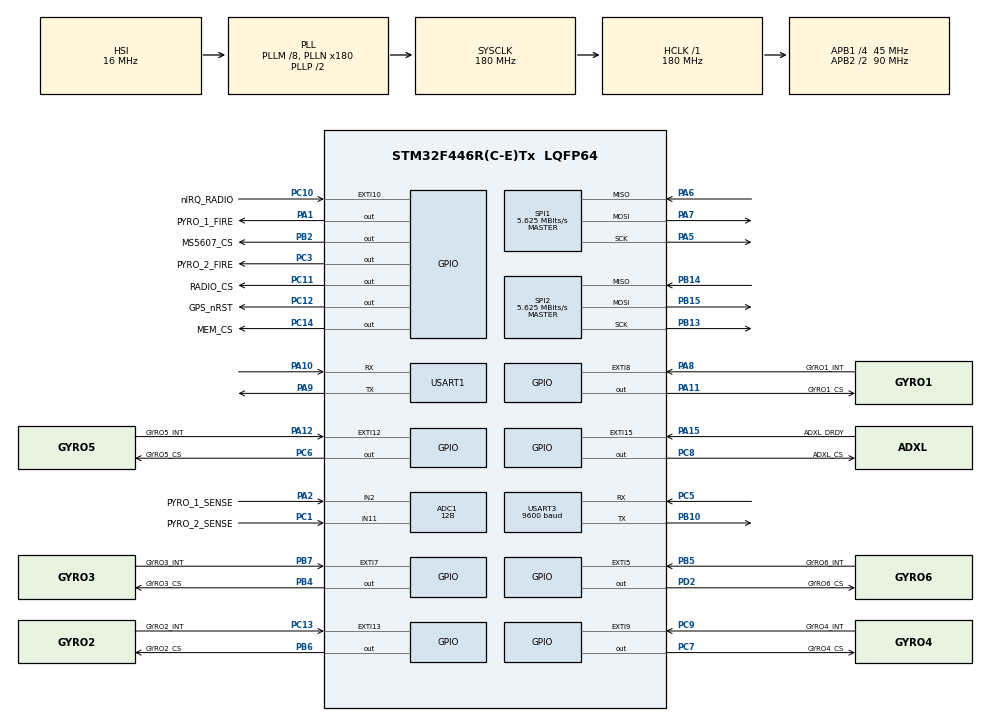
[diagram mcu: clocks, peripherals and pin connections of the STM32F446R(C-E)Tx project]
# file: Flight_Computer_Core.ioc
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ADC1.Channel-0\#ChannelRegularConversion=ADC_CHANNEL_2
ADC1.ClockPrescaler=ADC_CLOCK_SYNC_PCLK_DIV4
ADC1.ContinuousConvMode=DISABLE
ADC1.DMAContinuousRequests=DISABLE
ADC1.DataAlign=ADC_DATAALIGN_RIGHT
ADC1.DiscontinuousConvMode=DISABLE
ADC1.EOCSelection=ADC_EOC_SINGLE_CONV
ADC1.EnableAnalogWatchDog=false
ADC1.ExternalTrigConv=ADC_SOFTWARE_START
ADC1.ExternalTrigConvEdge=ADC_EXTERNALTRIGCONVEDGE_NONE
ADC1.InjNumberOfConversion=0
ADC1.NbrOfConversion=1
ADC1.NbrOfConversionFlag=1
ADC1.Rank-0\#ChannelRegularConversion=1
ADC1.Resolution=ADC_RESOLUTION_12B
ADC1.SamplingTime-0\#ChannelRegularConversion=ADC_SAMPLETIME_3CYCLES
ADC1.ScanConvMode=DISABLE
ADC1.master=1
Mcu.Family=STM32F4
Mcu.Name=STM32F446R(C-E)Tx
Mcu.Package=LQFP64
NVIC.EXTI15_10_IRQn=true\:1\:0\:true\:false\:true\:true
NVIC.EXTI9_5_IRQn=true\:1\:0\:true\:false\:true\:true
NVIC.PriorityGroup=NVIC_PRIORITYGROUP_4
NVIC.TIM1_UP_TIM10_IRQn=true\:1\:0\:true\:false\:true\:true
NVIC.TIM6_DAC_IRQn=true\:1\:0\:true\:false\:true\:true
NVIC.TIM7_IRQn=true\:1\:0\:true\:false\:true\:true
NVIC.USART1_IRQn=true\:0\:0\:false\:false\:true\:true
NVIC.USART3_IRQn=true\:0\:0\:false\:false\:true\:true
PA1.GPIO_Label=PYRO_1_FIRE
PA1.Signal=GPIO_Output
PA10.Mode=Asynchronous
PA10.Signal=USART1_RX
PA11.GPIO_Label=GYRO1_CS
PA11.GPIO_Speed=GPIO_SPEED_FREQ_HIGH
PA11.Signal=GPIO_Output
PA12.GPIO_Label=GYRO5_INT
PA12.Signal=GPXTI12
PA13.Mode=Trace_Asynchronous_SW
PA13.Signal=SYS_JTMS-SWDIO
PA14.Mode=Trace_Asynchronous_SW
PA14.Signal=SYS_JTCK-SWCLK
PA15.GPIO_Label=ADXL_DRDY
PA15.Signal=GPXTI15
PA2.GPIO_Label=PYRO_1_SENSE
PA2.Signal=ADCx_IN2
PA5.Mode=Full_Duplex_Master
PA5.Signal=SPI1_SCK
PA6.Mode=Full_Duplex_Master
PA6.Signal=SPI1_MISO
PA7.Mode=Full_Duplex_Master
PA7.Signal=SPI1_MOSI
PA8.GPIO_Label=GYRO1_INT
PA8.Signal=GPXTI8
PA9.Mode=Asynchronous
PA9.Signal=USART1_TX
PB10.Mode=Asynchronous
PB10.Signal=USART3_TX
PB13.Mode=Full_Duplex_Master
PB13.Signal=SPI2_SCK
PB14.Mode=Full_Duplex_Master
PB14.Signal=SPI2_MISO
PB15.Mode=Full_Duplex_Master
PB15.Signal=SPI2_MOSI
PB2.GPIO_Label=MS5607_CS
PB2.GPIO_Speed=GPIO_SPEED_FREQ_HIGH
PB2.Signal=GPIO_Output
PB3.Mode=Trace_Asynchronous_SW
PB3.Signal=SYS_JTDO-SWO
PB4.GPIO_Label=GYRO3_CS
PB4.GPIO_Speed=GPIO_SPEED_FREQ_HIGH
PB4.Signal=GPIO_Output
PB5.GPIO_Label=GYRO6_INT
PB5.Signal=GPXTI5
PB6.GPIO_Label=GYRO2_CS
PB6.GPIO_Speed=GPIO_SPEED_FREQ_HIGH
PB6.Signal=GPIO_Output
PB7.GPIO_Label=GYRO3_INT
PB7.Signal=GPXTI7
PC1.GPIO_Label=PYRO_2_SENSE
PC1.Signal=ADCx_IN11
PC10.GPIO_Label=nIRQ_RADIO
PC10.Signal=GPXTI10
PC11.GPIO_Label=RADIO_CS
PC11.GPIO_Speed=GPIO_SPEED_FREQ_HIGH
PC11.Signal=GPIO_Output
PC12.GPIO_Label=GPS_nRST
PC12.Signal=GPIO_Output
PC13.GPIO_Label=GYRO2_INT
PC13.Signal=GPXTI13
PC14-OSC32_IN.GPIO_Label=MEM_CS
PC14-OSC32_IN.GPIO_Speed=GPIO_SPEED_FREQ_LOW
PC14-OSC32_IN.Signal=GPIO_Output
PC3.GPIO_Label=PYRO_2_FIRE
PC3.Signal=GPIO_Output
PC5.Mode=Asynchronous
PC5.Signal=USART3_RX
PC6.GPIO_Label=GYRO5_CS
PC6.GPIO_Speed=GPIO_SPEED_FREQ_HIGH
PC6.Signal=GPIO_Output
PC7.GPIO_Label=GYRO4_CS
PC7.GPIO_Speed=GPIO_SPEED_FREQ_HIGH
PC7.Signal=GPIO_Output
PC8.GPIO_Label=ADXL_CS
PC8.GPIO_Speed=GPIO_SPEED_FREQ_HIGH
PC8.Signal=GPIO_Output
PC9.GPIO_Label=GYRO4_INT
PC9.Signal=GPXTI9
PD2.GPIO_Label=GYRO6_CS
PD2.GPIO_Speed=GPIO_SPEED_FREQ_HIGH
PD2.Signal=GPIO_Output
ProjectManager.HeapSize=0x200
ProjectManager.StackSize=0x400
ProjectManager.TargetToolchain=Other Toolchains (GPDSC)
RCC.AHBFreq_Value=180000000
RCC.APB1CLKDivider=RCC_HCLK_DIV4
RCC.APB1Freq_Value=45000000
RCC.APB1TimFreq_Value=90000000
RCC.APB2CLKDivider=RCC_HCLK_DIV2
RCC.APB2Freq_Value=90000000
RCC.APB2TimFreq_Value=180000000
RCC.CortexFreq_Value=180000000
RCC.HCLKFreq_Value=180000000
RCC.PLLM=8
RCC.PLLN=180
RCC.SYSCLKFreq_VALUE=180000000
RCC.SYSCLKSource=RCC_SYSCLKSOURCE_PLLCLK
RCC.USBFreq_Value=180000000
RCC.VCOOutputFreq_Value=360000000
SH.ADCx_IN11.0=ADC1_IN11,IN11
SH.ADCx_IN2.0=ADC1_IN2,IN2
SPI1.BaudRatePrescaler=SPI_BAUDRATEPRESCALER_16
SPI1.CalculateBaudRate=5.625 MBits/s
SPI1.Direction=SPI_DIRECTION_2LINES
SPI1.Mode=SPI_MODE_MASTER
SPI1.VirtualType=VM_MASTER
SPI2.BaudRatePrescaler=SPI_BAUDRATEPRESCALER_8
SPI2.CalculateBaudRate=5.625 MBits/s
SPI2.Direction=SPI_DIRECTION_2LINES
SPI2.Mode=SPI_MODE_MASTER
SPI2.VirtualType=VM_MASTER
TIM10.Period=99
TIM10.Prescaler=1799
TIM6.Period=99
TIM6.Prescaler=17999
TIM7.Period=999
TIM7.Prescaler=17999
USART1.VirtualMode=VM_ASYNC
USART3.BaudRate=9600
USART3.VirtualMode=VM_ASYNC
VP_TIM10_VS_ClockSourceINT.Mode=Enable_Timer
VP_TIM6_VS_ClockSourceINT.Mode=Enable_Timer
VP_TIM7_VS_ClockSourceINT.Mode=Enable_Timer
board=Flight_Computer_Core

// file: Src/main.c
/**
  ******************************************************************************
  * File Name          : main.c
  * Description        : Main program body
  ******************************************************************************
  ** This notice applies to any and all portions of this file
  * that are not between comment pairs USER CODE BEGIN and
  * USER CODE END. Other portions of this file, whether
  * inserted by the user or by software development tools
  * are owned by their respective copyright owners.
  *
  * COPYRIGHT(c) 2018 STMicroelectronics
  *
  * Redistribution and use in source and binary forms, with or without modification,
  * are permitted provided that the following conditions are met:
  *   1. Redistributions of source code must retain the above copyright notice,
  *      this list of conditions and the following disclaimer.
  *   2. Redistributions in binary form must reproduce the above copyright notice,
  *      this list of conditions and the following disclaimer in the documentation
  *      and/or other materials provided with the distribution.
  *   3. Neither the name of STMicroelectronics nor the names of its contributors
  *      may be used to endorse or promote products derived from this software
  *      without specific prior written permission.
  *
  * THIS SOFTWARE IS PROVIDED BY THE COPYRIGHT HOLDERS AND CONTRIBUTORS "AS IS"
  * AND ANY EXPRESS OR IMPLIED WARRANTIES, INCLUDING, BUT NOT LIMITED TO, THE
  * IMPLIED WARRANTIES OF MERCHANTABILITY AND FITNESS FOR A PARTICULAR PURPOSE ARE
  * DISCLAIMED. IN NO EVENT SHALL THE COPYRIGHT HOLDER OR CONTRIBUTORS BE LIABLE
  * FOR ANY DIRECT, INDIRECT, INCIDENTAL, SPECIAL, EXEMPLARY, OR CONSEQUENTIAL
  * DAMAGES (INCLUDING, BUT NOT LIMITED TO, PROCUREMENT OF SUBSTITUTE GOODS OR
  * SERVICES; LOSS OF USE, DATA, OR PROFITS; OR BUSINESS INTERRUPTION) HOWEVER
  * CAUSED AND ON ANY THEORY OF LIABILITY, WHETHER IN CONTRACT, STRICT LIABILITY,
  * OR TORT (INCLUDING NEGLIGENCE OR OTHERWISE) ARISING IN ANY WAY OUT OF THE USE
  * OF THIS SOFTWARE, EVEN IF ADVISED OF THE POSSIBILITY OF SUCH DAMAGE.
  *
  ******************************************************************************
  */

#include "main.h"
#include "stm32f4xx_hal.h"

/* USER CODE BEGIN Includes */

/*
                                                                   `-/+osyhdmmNNy`
                                                             `-/shmNmhyso+/oMMMy`
                                                         `-+hmNdy+:.`     /mMNo`
                                                     `.:smNds/.`        .yNMm:
                                             `.:+oosmmNmy+.`          .sNMNo`
                                        `-/syhs+:./hmy/`    `::     .odmms.
       ./oyyyo:`       ./oyyy+-      ./ymNyo+oo+/:+/.    ./o//+++//+oso+o++:       .:/++/:.
      :mNNNNNNNh-     /mNNNNNNmy. -odNMMN++dmmdhddd/ `:odNs/hydddmNmdddmmmmo      /ddmmmmdh/
      hNNNmsmNNNm-    hNNNmsmNNms.dNMMMM/-mNdyydmmdd-sNMMh-Ndmmmysossssssss/     -dmmmdhmmmd-
      hNNNh :NNNNh`   hNNNy /NNmm/-+oo++.dNNdd-:dmNNd-NMMo+mddd:                `ymmmd:-dmmmh`
      hNNNh  oNNNN/   hNNNy .omNNm.ddhy-+mNNNo.:sMNNNo+MN/-dmmmho+++++++/-`     +mmmmo  ommmmo
      hNNNh  `dNNNd`  hNNNy-d-dNNm/.-...dhNNh` y.mNNNN-o.  +dmmmmmmmmmmmmmh:   -dmmmh`  `hmmmd-
      hNNNh   :NNNN/  hNmmy:Ms/mdhh.:.`omdmh- .Ny:NNNdy     .+syyyyyyyydmmmd- `ymmmm:    -dmmmy`
      hNNNh    hNNNd` hmNNy:Nh.syss/``+ddmho-:mMM:odmmm/               :mmmmo /mmmmo      ommmm/
      hNNNh    -NNNNy:dmNNy:mms:yoos-.hmmdd-mMNd+.`dmmmd`  .////////::/smmmm/.dmmmh`      `hmmmd.
      hNNNh     +mNNNNNmNm+/yso.odmmyyNddN:sdo-    :mmmms  +mmmmmmmdymmmmmmo`smmmm:        -dmmms
      sddds      -ohdddhs+sdNNMy:dsyhhyydo`-        ohhhh. /hhhhhhysshhhyo- .yhhho          +yyyy.
                    ``` :NMMMMMMh:   .:`                      `.+s.
                         /mMMMMMMs                         `./hmy-
                          .omMMMMMs.`                  `./sdNNy:
                          .-./smNMMMmho+:-..``...-:/oshmMMNmo.
                           :yhysoyNMMMMMMMMMMMMMMMMMMMMNdo-
                             .+ymMMMMMMMMMMMMMMMMMMmyo:`
                                 .-+osyyhhhyyso+:.`
 */

#include "flash.h"
#include "sensors.h"
#include "commandline.h"
#include "GPS.h"
#include "radio.h"
/* USER CODE END Includes */

ADC_HandleTypeDef hadc1;

SPI_HandleTypeDef hspi1;
SPI_HandleTypeDef hspi2;

TIM_HandleTypeDef htim6;
TIM_HandleTypeDef htim7;
TIM_HandleTypeDef htim10;

UART_HandleTypeDef huart1;
UART_HandleTypeDef huart3;

/* USER CODE BEGIN PV */
/* Private variables ---------------------------------------------------------*/

//GLOBALS:
//UART Buffers
uint8_t uart1_in;
buffer uart1_buf;
uint8_t uart3_in;
buffer uart3_buf;
uint16_t packet_number = 0;

union flt{
  float f;
  uint8_t bytes[4];
};
union flt float_conv;

//Sensors Structs
baro b;
gyro gyros[6];
accel a;
extern gps_data gps;

//Global Flags
uint8_t ADXL_Log, GYRO1_Log, GYRO2_Log, GYRO3_Log, GYRO4_Log, GYRO5_Log, GYRO6_Log, GPS_Log;
uint8_t radio_tim, baro_tim, ms_tim;
uint8_t baro_conv_state = 0;
uint8_t transmitting = 0;
/* USER CODE END PV */

void SystemClock_Config(void);
static void MX_GPIO_Init(void);
static void MX_ADC1_Init(void);
static void MX_SPI1_Init(void);
static void MX_SPI2_Init(void);
static void MX_TIM10_Init(void);
static void MX_USART1_UART_Init(void);
static void MX_USART3_UART_Init(void);
static void MX_TIM6_Init(void);
static void MX_TIM7_Init(void);

/* USER CODE BEGIN PFP */
/* Private function prototypes -----------------------------------------------*/

/* USER CODE END PFP */

int main(void)
{

  /* USER CODE BEGIN 1 */

  // Initialize uart command buffer

  /* USER CODE END 1 */

  /* MCU Configuration----------------------------------------------------------*/

  /* Reset of all peripherals, Initializes the Flash interface and the Systick. */
  HAL_Init();

  /* Configure the system clock */
  SystemClock_Config();

  /* Initialize all configured peripherals */
  MX_GPIO_Init();
  MX_ADC1_Init();
  MX_SPI1_Init();
  MX_SPI2_Init();
  MX_TIM10_Init();
  MX_USART1_UART_Init();
  MX_USART3_UART_Init();
  MX_TIM6_Init();
  MX_TIM7_Init();

  /* USER CODE BEGIN 2 */
  //Local vars
  volatile uint8_t temp_packet[23] = {0};
  volatile uint8_t radio_status;

  //Init CS pins to default state
  HAL_GPIO_WritePin(GYRO1_CS_GPIO_Port, GYRO1_CS_Pin, 1);
  HAL_GPIO_WritePin(GYRO2_CS_GPIO_Port, GYRO2_CS_Pin, 1);
  HAL_GPIO_WritePin(GYRO3_CS_GPIO_Port, GYRO3_CS_Pin, 1);
  HAL_GPIO_WritePin(GYRO4_CS_GPIO_Port, GYRO4_CS_Pin, 1);
  HAL_GPIO_WritePin(GYRO5_CS_GPIO_Port, GYRO5_CS_Pin, 1);
  HAL_GPIO_WritePin(GYRO6_CS_GPIO_Port, GYRO6_CS_Pin, 1);
  HAL_GPIO_WritePin(MS5607_CS_GPIO_Port, MS5607_CS_Pin, 1);
  HAL_GPIO_WritePin(ADXL_CS_GPIO_Port, ADXL_CS_Pin, 1);
  HAL_GPIO_WritePin(GPS_nRST_GPIO_Port, GPS_nRST_Pin, 1);
  HAL_GPIO_WritePin(MEM_CS_GPIO_Port, MEM_CS_Pin, 1);
  HAL_GPIO_WritePin(RADIO_CS_GPIO_Port, RADIO_CS_Pin, 1);

//  unlock_all(); // Flash init
//  filesystem fs;
//  if(1){  // Change this to a 1 to wipe the old filesystem, and init it to a blank new one (be careful)
//      fs.current_file = -1;
//      fs.next_file_page = 64;
//      fs.num_files = 0;
//      file blank_file;
//      blank_file.bytes_free = 0;
//      blank_file.current_page = 0;
//      blank_file.file_number = 0;
//      blank_file.start_page = 0;
//      blank_file.stop_page = 0;
//      for(int n = 0; n < MAX_FILES; n++){
//          fs.files[n] = blank_file;
//      }
//      write_filesystem(&fs);
//  }

  //Cmd Interface Init
  buffer_init(&uart1_buf, UART_BUFFER_SIZE, 1);
  HAL_UART_Receive_IT(&huart1, &uart1_in, 1);

  //GPS UART Init
  buffer_init(&uart3_buf, UART_BUFFER_SIZE, 3);
  HAL_UART_Receive_IT(&huart3, &uart3_in, 1);

  //Gyro Init
  init_gyros();
  for(int n = 1; n <= 6; n++){
      gyros[n-1].id = n;
  }

  //Accel Init
  init_accel();

  //Baro Init
  init_baro(&b);
  D2_conv_baro(&b);
  HAL_Delay(20);

  //Radio Init
  init_radio();
  radio_resetFIFO();

  print("System Initilization Complete\n\0");

//  file* logfile = new_log();
//  for(int i = 0; i<600; i++){
//      read_gyro(&gyros[0]);
//      read_accel(&a);
//      log_accel(logfile, &a);
//      log_gyro(logfile, &gyros[0]);
//      HAL_Delay(5);
//  }
//  close_log(logfile);

  //Start Timers
  HAL_TIM_Base_Init(&htim6);
  HAL_TIM_Base_Start_IT(&htim6);
  HAL_TIM_Base_Init(&htim7);
  HAL_TIM_Base_Start_IT(&htim7);
  HAL_TIM_Base_Init(&htim10);
  HAL_TIM_Base_Start_IT(&htim10);

  /* USER CODE END 2 */

  /* Infinite loop */
  while (1)
  {

  /* USER CODE BEGIN 3 */
    //Check if a drdy interrupt has occured and fetch data
    if(ADXL_Log == 1){
        read_accel(&a);
        //log_accel(logfile, &a);
        ADXL_Log = 0;
    }
    if(GYRO1_Log == 1){
      read_gyro(&gyros[0]);
      //log_gyro(logfile, &gyros[0]);
      GYRO1_Log =0;
    }
    if(GYRO2_Log == 1){
      read_gyro(&gyros[1]);
      //log_gyro(logfile, &gyros[1]);
      GYRO2_Log =0;
    }
    if(GYRO3_Log == 1){
      read_gyro(&gyros[2]);
      //log_gyro(logfile, &gyros[2]);
      GYRO3_Log =0;
    }
    if(GYRO4_Log == 1){
      read_gyro(&gyros[3]);
      //log_gyro(logfile, &gyros[3]);
      GYRO4_Log =0;
    }
    if(GYRO5_Log == 1){
      read_gyro(&gyros[4]);
      //log_gyro(logfile, &gyros[4]);
      GYRO5_Log =0;
    }
    if(GYRO6_Log == 1){
      read_gyro(&gyros[5]);
      //log_gyro(logfile, &gyros[5]);
      GYRO6_Log = 0;
    }
    if(GPS_Log == 1){
        //log_gps(logfile, &gps);
    }

    //Check timer interrupts
    if(radio_tim == 1){
        //Send out radio packet
        temp_packet[1] = 0x7; //0x0 wil be normal packet
        temp_packet[2] = (packet_number & 0xFF);
        temp_packet[3] = (packet_number >> 8) & 0xFF;

        float_conv.f = gps.latitude;
        temp_packet[4] = float_conv.bytes[0];
        temp_packet[5] = float_conv.bytes[1];
        temp_packet[6] = float_conv.bytes[2];
        temp_packet[7] = float_conv.bytes[3];

        float_conv.f = gps.longitude;
        temp_packet[8] = float_conv.bytes[0];
        temp_packet[9] = float_conv.bytes[1];
        temp_packet[10] = float_conv.bytes[2];
        temp_packet[11] = float_conv.bytes[3];

        //Need to write function to actually get baro_alt
        temp_packet[12] = (b.altitude) & 0xFF;
        temp_packet[13] = (b.altitude >> 8) & 0xFF;

        //Same as above
//        temp_packet[14] = (max_alt >> 8) & 0xFF;
//        temp_packet[15] = (max_alt) & 0xFF;

        //Just send gyro 2 data for now. Can send avg of all channels if wanted
        //Need to change axis to the correct one...
        temp_packet[16] = (gyros[2].data[2]) & 0xFF;
        temp_packet[17] = (gyros[2].data[2] >> 8) & 0xFF;

        //Need to write function to actually calculate vel from accel
//        temp_packet[18] = (gyros[1].data[1] >> 8) & 0xFF;
//        temp_packet[19] = (gyros[1].data[1]) & 0xFF;

        //Need to change axis to the correct one...
        temp_packet[20] = (a.data[2]) & 0xFF;
        temp_packet[21] = (a.data[2] >> 8) & 0xFF;
        temp_packet[22] = (a.data[2] >> 16) & 0xFF;

        //Byte for packet stuffing test. Remember to remove
        //temp_packet[12] = 0x0;

//        temp_packet[1] = 0x1;
//        temp_packet[2] = 0x1;
//        temp_packet[3] = 0x1;
//        temp_packet[4] = 0x1;
//        temp_packet[5] = 0x1;
//        temp_packet[6] = 0x1;
//        temp_packet[7] = 0x1;
//        temp_packet[8] = 0xa;
//        temp_packet[9] = 0x1;
//        temp_packet[10] = 0x1;
//        temp_packet[11] = 0xa;
//        temp_packet[12] = 0x1;
//        temp_packet[13] = 0x1;
//        temp_packet[14] = 0xa;
//        temp_packet[15] = 0x1;
//        temp_packet[16] = 0xa;
//        temp_packet[17] = 0x1;
//        temp_packet[18] = 0x1;
//        temp_packet[19] = 0x1;
//        temp_packet[20] = 0x1;
//        temp_packet[21] = 0xa;
//        temp_packet[22] = 0x8;

        //Do steps for transmit
        radio_txPacket(temp_packet);
        packet_number += 1;
        radio_status = RADIO_TRANSMITTING;
        radio_tim = 0;
    }
    if(baro_tim == 1){
        //Send conversion and/or read adc
        if(baro_conv_state == 0){
            read_D2_baro(&b);
            D1_conv_baro(&b);
            baro_conv_state = 1;
        }
        else{
            read_D1_baro(&b);
            D2_conv_baro(&b);
            conv_pres_baro(&b);
            conv_alt(&b);
            //log_baro(logfile, &b);
            baro_conv_state = 0;
        }
        baro_tim = 0;

        //Use this interrupt to also update radio status
        //If radio pkt sent flag is high, then radio is in IDLE
        if((radio_readInterrupt() & 0b100) != 0){
            radio_status = RADIO_IDLE;
        }

    }
    if(ms_tim == 1){
        //Log number of ms??
    }

    //If radio is not transmitting or searching for a packet
    //Then put into receiving mode
//    if(radio_status == RADIO_IDLE){
//        //Do second sanity check we are actually in idle
//        if((radio_readStatus() & 0b11) == 0b00){
//            //Put into RX mode
//            radio_RXMode();
//            radio_status = RADIO_REC;
//        }
//    }
  }
  /* USER CODE END 3 */

}

/** System Clock Configuration
*/
void SystemClock_Config(void)
{

  RCC_OscInitTypeDef RCC_OscInitStruct;
  RCC_ClkInitTypeDef RCC_ClkInitStruct;

    /**Configure the main internal regulator output voltage
    */
  __HAL_RCC_PWR_CLK_ENABLE();

  __HAL_PWR_VOLTAGESCALING_CONFIG(PWR_REGULATOR_VOLTAGE_SCALE1);

    /**Initializes the CPU, AHB and APB busses clocks
    */
  RCC_OscInitStruct.OscillatorType = RCC_OSCILLATORTYPE_HSI;
  RCC_OscInitStruct.HSIState = RCC_HSI_ON;
  RCC_OscInitStruct.HSICalibrationValue = 16;
  RCC_OscInitStruct.PLL.PLLState = RCC_PLL_ON;
  RCC_OscInitStruct.PLL.PLLSource = RCC_PLLSOURCE_HSI;
  RCC_OscInitStruct.PLL.PLLM = 8;
  RCC_OscInitStruct.PLL.PLLN = 180;
  RCC_OscInitStruct.PLL.PLLP = RCC_PLLP_DIV2;
  RCC_OscInitStruct.PLL.PLLQ = 2;
  RCC_OscInitStruct.PLL.PLLR = 2;
  if (HAL_RCC_OscConfig(&RCC_OscInitStruct) != HAL_OK)
  {
    //_Error_Handler(__FILE__, __LINE__);
  }

    /**Activate the Over-Drive mode
    */
  if (HAL_PWREx_EnableOverDrive() != HAL_OK)
  {
    _Error_Handler(__FILE__, __LINE__);
  }

    /**Initializes the CPU, AHB and APB busses clocks
    */
  RCC_ClkInitStruct.ClockType = RCC_CLOCKTYPE_HCLK|RCC_CLOCKTYPE_SYSCLK
                              |RCC_CLOCKTYPE_PCLK1|RCC_CLOCKTYPE_PCLK2;
  RCC_ClkInitStruct.SYSCLKSource = RCC_SYSCLKSOURCE_PLLCLK;
  RCC_ClkInitStruct.AHBCLKDivider = RCC_SYSCLK_DIV1;
  RCC_ClkInitStruct.APB1CLKDivider = RCC_HCLK_DIV4;
  RCC_ClkInitStruct.APB2CLKDivider = RCC_HCLK_DIV2;

  if (HAL_RCC_ClockConfig(&RCC_ClkInitStruct, FLASH_LATENCY_5) != HAL_OK)
  {
    _Error_Handler(__FILE__, __LINE__);
  }

    /**Configure the Systick interrupt time
    */
  HAL_SYSTICK_Config(HAL_RCC_GetHCLKFreq()/1000);

    /**Configure the Systick
    */
  HAL_SYSTICK_CLKSourceConfig(SYSTICK_CLKSOURCE_HCLK);

  /* SysTick_IRQn interrupt configuration */
  HAL_NVIC_SetPriority(SysTick_IRQn, 0, 0);
}

/* ADC1 init function */
static void MX_ADC1_Init(void)
{

  ADC_ChannelConfTypeDef sConfig;

    /**Configure the global features of the ADC (Clock, Resolution, Data Alignment and number of conversion)
    */
  hadc1.Instance = ADC1;
  hadc1.Init.ClockPrescaler = ADC_CLOCK_SYNC_PCLK_DIV4;
  hadc1.Init.Resolution = ADC_RESOLUTION_12B;
  hadc1.Init.ScanConvMode = DISABLE;
  hadc1.Init.ContinuousConvMode = DISABLE;
  hadc1.Init.DiscontinuousConvMode = DISABLE;
  hadc1.Init.ExternalTrigConvEdge = ADC_EXTERNALTRIGCONVEDGE_NONE;
  hadc1.Init.ExternalTrigConv = ADC_SOFTWARE_START;
  hadc1.Init.DataAlign = ADC_DATAALIGN_RIGHT;
  hadc1.Init.NbrOfConversion = 1;
  hadc1.Init.DMAContinuousRequests = DISABLE;
  hadc1.Init.EOCSelection = ADC_EOC_SINGLE_CONV;
  if (HAL_ADC_Init(&hadc1) != HAL_OK)
  {
    _Error_Handler(__FILE__, __LINE__);
  }

    /**Configure for the selected ADC regular channel its corresponding rank in the sequencer and its sample time.
    */
  sConfig.Channel = ADC_CHANNEL_2;
  sConfig.Rank = 1;
  sConfig.SamplingTime = ADC_SAMPLETIME_3CYCLES;
  if (HAL_ADC_ConfigChannel(&hadc1, &sConfig) != HAL_OK)
  {
    _Error_Handler(__FILE__, __LINE__);
  }

}

/* SPI1 init function */
static void MX_SPI1_Init(void)
{

  /* SPI1 parameter configuration*/
  hspi1.Instance = SPI1;
  hspi1.Init.Mode = SPI_MODE_MASTER;
  hspi1.Init.Direction = SPI_DIRECTION_2LINES;
  hspi1.Init.DataSize = SPI_DATASIZE_8BIT;
  hspi1.Init.CLKPolarity = SPI_POLARITY_LOW;
  hspi1.Init.CLKPhase = SPI_PHASE_1EDGE;
  hspi1.Init.NSS = SPI_NSS_SOFT;
  hspi1.Init.BaudRatePrescaler = SPI_BAUDRATEPRESCALER_16;
  hspi1.Init.FirstBit = SPI_FIRSTBIT_MSB;
  hspi1.Init.TIMode = SPI_TIMODE_DISABLE;
  hspi1.Init.CRCCalculation = SPI_CRCCALCULATION_DISABLE;
  hspi1.Init.CRCPolynomial = 10;
  if (HAL_SPI_Init(&hspi1) != HAL_OK)
  {
    _Error_Handler(__FILE__, __LINE__);
  }

}

/* SPI2 init function */
static void MX_SPI2_Init(void)
{

  /* SPI2 parameter configuration*/
  hspi2.Instance = SPI2;
  hspi2.Init.Mode = SPI_MODE_MASTER;
  hspi2.Init.Direction = SPI_DIRECTION_2LINES;
  hspi2.Init.DataSize = SPI_DATASIZE_8BIT;
  hspi2.Init.CLKPolarity = SPI_POLARITY_LOW;
  hspi2.Init.CLKPhase = SPI_PHASE_1EDGE;
  hspi2.Init.NSS = SPI_NSS_SOFT;
  hspi2.Init.BaudRatePrescaler = SPI_BAUDRATEPRESCALER_8;
  hspi2.Init.FirstBit = SPI_FIRSTBIT_MSB;
  hspi2.Init.TIMode = SPI_TIMODE_DISABLE;
  hspi2.Init.CRCCalculation = SPI_CRCCALCULATION_DISABLE;
  hspi2.Init.CRCPolynomial = 10;
  if (HAL_SPI_Init(&hspi2) != HAL_OK)
  {
    _Error_Handler(__FILE__, __LINE__);
  }

}

/* TIM6 init function */
static void MX_TIM6_Init(void)
{

  TIM_MasterConfigTypeDef sMasterConfig;

  htim6.Instance = TIM6;
  htim6.Init.Prescaler = 17999;
  htim6.Init.CounterMode = TIM_COUNTERMODE_UP;
  htim6.Init.Period = 99;
  if (HAL_TIM_Base_Init(&htim6) != HAL_OK)
  {
    _Error_Handler(__FILE__, __LINE__);
  }

  sMasterConfig.MasterOutputTrigger = TIM_TRGO_RESET;
  sMasterConfig.MasterSlaveMode = TIM_MASTERSLAVEMODE_DISABLE;
  if (HAL_TIMEx_MasterConfigSynchronization(&htim6, &sMasterConfig) != HAL_OK)
  {
    _Error_Handler(__FILE__, __LINE__);
  }

}

/* TIM7 init function */
static void MX_TIM7_Init(void)
{

  TIM_MasterConfigTypeDef sMasterConfig;

  htim7.Instance = TIM7;
  htim7.Init.Prescaler = 17999;
  htim7.Init.CounterMode = TIM_COUNTERMODE_UP;
  htim7.Init.Period = 999;
  if (HAL_TIM_Base_Init(&htim7) != HAL_OK)
  {
    _Error_Handler(__FILE__, __LINE__);
  }

  sMasterConfig.MasterOutputTrigger = TIM_TRGO_RESET;
  sMasterConfig.MasterSlaveMode = TIM_MASTERSLAVEMODE_DISABLE;
  if (HAL_TIMEx_MasterConfigSynchronization(&htim7, &sMasterConfig) != HAL_OK)
  {
    _Error_Handler(__FILE__, __LINE__);
  }

}

/* TIM10 init function */
static void MX_TIM10_Init(void)
{

  htim10.Instance = TIM10;
  htim10.Init.Prescaler = 1799;
  htim10.Init.CounterMode = TIM_COUNTERMODE_UP;
  htim10.Init.Period = 99;
  htim10.Init.ClockDivision = TIM_CLOCKDIVISION_DIV1;
  if (HAL_TIM_Base_Init(&htim10) != HAL_OK)
  {
    _Error_Handler(__FILE__, __LINE__);
  }

}

/* USART1 init function */
static void MX_USART1_UART_Init(void)
{

  huart1.Instance = USART1;
  huart1.Init.BaudRate = 115200;
  huart1.Init.WordLength = UART_WORDLENGTH_8B;
  huart1.Init.StopBits = UART_STOPBITS_1;
  huart1.Init.Parity = UART_PARITY_NONE;
  huart1.Init.Mode = UART_MODE_TX_RX;
  huart1.Init.HwFlowCtl = UART_HWCONTROL_NONE;
  huart1.Init.OverSampling = UART_OVERSAMPLING_16;
  if (HAL_UART_Init(&huart1) != HAL_OK)
  {
    _Error_Handler(__FILE__, __LINE__);
  }

}

/* USART3 init function */
static void MX_USART3_UART_Init(void)
{

  huart3.Instance = USART3;
  huart3.Init.BaudRate = 9600;
  huart3.Init.WordLength = UART_WORDLENGTH_8B;
  huart3.Init.StopBits = UART_STOPBITS_1;
  huart3.Init.Parity = UART_PARITY_NONE;
  huart3.Init.Mode = UART_MODE_TX_RX;
  huart3.Init.HwFlowCtl = UART_HWCONTROL_NONE;
  huart3.Init.OverSampling = UART_OVERSAMPLING_16;
  if (HAL_UART_Init(&huart3) != HAL_OK)
  {
    _Error_Handler(__FILE__, __LINE__);
  }

}

/** Configure pins as
        * Analog
        * Input
        * Output
        * EVENT_OUT
        * EXTI
*/
static void MX_GPIO_Init(void)
{

  GPIO_InitTypeDef GPIO_InitStruct;

  /* GPIO Ports Clock Enable */
  __HAL_RCC_GPIOC_CLK_ENABLE();
  __HAL_RCC_GPIOA_CLK_ENABLE();
  __HAL_RCC_GPIOB_CLK_ENABLE();
  __HAL_RCC_GPIOD_CLK_ENABLE();

  /*Configure GPIO pin Output Level */
  HAL_GPIO_WritePin(GPIOC, MEM_CS_Pin|PYRO_2_FIRE_Pin|GYRO5_CS_Pin|GYRO4_CS_Pin
                          |ADXL_CS_Pin|RADIO_CS_Pin|GPS_nRST_Pin, GPIO_PIN_RESET);

  /*Configure GPIO pin Output Level */
  HAL_GPIO_WritePin(GPIOA, PYRO_1_FIRE_Pin|GYRO1_CS_Pin, GPIO_PIN_RESET);

  /*Configure GPIO pin Output Level */
  HAL_GPIO_WritePin(GPIOB, MS5607_CS_Pin|GYRO3_CS_Pin|GYRO2_CS_Pin, GPIO_PIN_RESET);

  /*Configure GPIO pin Output Level */
  HAL_GPIO_WritePin(GYRO6_CS_GPIO_Port, GYRO6_CS_Pin, GPIO_PIN_RESET);

  /*Configure GPIO pins : GYRO2_INT_Pin GYRO4_INT_Pin nIRQ_RADIO_Pin */
  GPIO_InitStruct.Pin = GYRO2_INT_Pin|GYRO4_INT_Pin|nIRQ_RADIO_Pin;
  GPIO_InitStruct.Mode = GPIO_MODE_IT_RISING;
  GPIO_InitStruct.Pull = GPIO_NOPULL;
  HAL_GPIO_Init(GPIOC, &GPIO_InitStruct);

  /*Configure GPIO pins : MEM_CS_Pin PYRO_2_FIRE_Pin GPS_nRST_Pin */
  GPIO_InitStruct.Pin = MEM_CS_Pin|PYRO_2_FIRE_Pin|GPS_nRST_Pin;
  GPIO_InitStruct.Mode = GPIO_MODE_OUTPUT_PP;
  GPIO_InitStruct.Pull = GPIO_NOPULL;
  GPIO_InitStruct.Speed = GPIO_SPEED_FREQ_LOW;
  HAL_GPIO_Init(GPIOC, &GPIO_InitStruct);

  /*Configure GPIO pin : PYRO_1_FIRE_Pin */
  GPIO_InitStruct.Pin = PYRO_1_FIRE_Pin;
  GPIO_InitStruct.Mode = GPIO_MODE_OUTPUT_PP;
  GPIO_InitStruct.Pull = GPIO_NOPULL;
  GPIO_InitStruct.Speed = GPIO_SPEED_FREQ_LOW;
  HAL_GPIO_Init(PYRO_1_FIRE_GPIO_Port, &GPIO_InitStruct);

  /*Configure GPIO pins : MS5607_CS_Pin GYRO3_CS_Pin GYRO2_CS_Pin */
  GPIO_InitStruct.Pin = MS5607_CS_Pin|GYRO3_CS_Pin|GYRO2_CS_Pin;
  GPIO_InitStruct.Mode = GPIO_MODE_OUTPUT_PP;
  GPIO_InitStruct.Pull = GPIO_NOPULL;
  GPIO_InitStruct.Speed = GPIO_SPEED_FREQ_HIGH;
  HAL_GPIO_Init(GPIOB, &GPIO_InitStruct);

  /*Configure GPIO pins : GYRO5_CS_Pin GYRO4_CS_Pin ADXL_CS_Pin RADIO_CS_Pin */
  GPIO_InitStruct.Pin = GYRO5_CS_Pin|GYRO4_CS_Pin|ADXL_CS_Pin|RADIO_CS_Pin;
  GPIO_InitStruct.Mode = GPIO_MODE_OUTPUT_PP;
  GPIO_InitStruct.Pull = GPIO_NOPULL;
  GPIO_InitStruct.Speed = GPIO_SPEED_FREQ_HIGH;
  HAL_GPIO_Init(GPIOC, &GPIO_InitStruct);

  /*Configure GPIO pins : GYRO1_INT_Pin GYRO5_INT_Pin ADXL_DRDY_Pin */
  GPIO_InitStruct.Pin = GYRO1_INT_Pin|GYRO5_INT_Pin|ADXL_DRDY_Pin;
  GPIO_InitStruct.Mode = GPIO_MODE_IT_RISING;
  GPIO_InitStruct.Pull = GPIO_NOPULL;
  HAL_GPIO_Init(GPIOA, &GPIO_InitStruct);

  /*Configure GPIO pin : GYRO1_CS_Pin */
  GPIO_InitStruct.Pin = GYRO1_CS_Pin;
  GPIO_InitStruct.Mode = GPIO_MODE_OUTPUT_PP;
  GPIO_InitStruct.Pull = GPIO_NOPULL;
  GPIO_InitStruct.Speed = GPIO_SPEED_FREQ_HIGH;
  HAL_GPIO_Init(GYRO1_CS_GPIO_Port, &GPIO_InitStruct);

  /*Configure GPIO pin : GYRO6_CS_Pin */
  GPIO_InitStruct.Pin = GYRO6_CS_Pin;
  GPIO_InitStruct.Mode = GPIO_MODE_OUTPUT_PP;
  GPIO_InitStruct.Pull = GPIO_NOPULL;
  GPIO_InitStruct.Speed = GPIO_SPEED_FREQ_HIGH;
  HAL_GPIO_Init(GYRO6_CS_GPIO_Port, &GPIO_InitStruct);

  /*Configure GPIO pins : GYRO6_INT_Pin GYRO3_INT_Pin */
  GPIO_InitStruct.Pin = GYRO6_INT_Pin|GYRO3_INT_Pin;
  GPIO_InitStruct.Mode = GPIO_MODE_IT_RISING;
  GPIO_InitStruct.Pull = GPIO_NOPULL;
  HAL_GPIO_Init(GPIOB, &GPIO_InitStruct);

  /* EXTI interrupt init*/
  HAL_NVIC_SetPriority(EXTI9_5_IRQn, 1, 0);
  HAL_NVIC_EnableIRQ(EXTI9_5_IRQn);

  HAL_NVIC_SetPriority(EXTI15_10_IRQn, 1, 0);
  HAL_NVIC_EnableIRQ(EXTI15_10_IRQn);

}

void _Error_Handler(char * file, int line)
{
  while(1)
  {
  }
}

/************************ (C) COPYRIGHT STMicroelectronics *****END OF FILE****/
